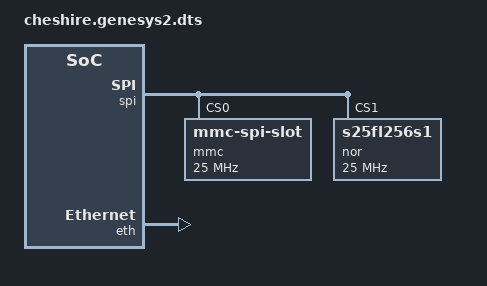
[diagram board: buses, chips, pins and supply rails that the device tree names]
// Copyright 2024 ETH Zurich and University of Bologna.
// Solderpad Hardware License, Version 0.51, see LICENSE for details.
// SPDX-License-Identifier: SHL-0.51
//
// Cyril Koenig <cykoenig@iis.ee.ethz.ch>

/include/ "cheshire.dtsi"

&spi {
  // Choose NOR in "boot-with", as it is only considered if `mmc` probe fails.
  // Thus, we boot from MMC (SD) if available and NOR flash otherwise.
  boot-with = <1>;
  mmc@0 {
    compatible = "mmc-spi-slot";
    reg = <0>; // CS
    spi-max-frequency = <25000000>;
    voltage-ranges = <3300 3300>;
    disable-wp;
  };
  nor@1 {
    compatible = "s25fl256s1", "jedec,spi-nor";
    reg = <1>; // CS
    spi-max-frequency = <25000000>;
    disable-wp;
  };
};

&soc {
  /*
   * usb@3008000 {
   * compatible = "generic-ohci";
   * reg = <0x0 0x3008000 0x0 0x1000>;
   * interrupt-parent = <&PLIC0>;
   * interrupts = <19>;
   * };
  */
  PLIC0: interrupt-controller@4000000 {
    riscv,ndev = <64>;
  };
  riscv_iommu: iommu@1001000 {
    compatible = "riscv,iommu";
    reg = <0x0 0x1001000 0x0 0x1000>;
    interrupts = <59 60 61>; // 62 unused, skipped
    interrupt-names = "cmdq", "fltq", "hpm";
    interrupt-parent = <&PLIC0>;
    #iommu-cells = <1>;
  };
  strela@1002000 {
    compatible = "cei,strela";
    interrupt-parent = <&PLIC0>;
    interrupt-names = "config_done", "exec_done";
    interrupts = <63 64>;
    reg = <0x0 0x1002000 0x0 0x1000>;
    iommus = <&riscv_iommu 0>;
  };
  eth: lowrisc-eth@1020000 {
      compatible = "lowrisc-eth";  
      device_type = "network";   
      interrupt-parent = <&PLIC0>;   
      interrupts = <58>;
      mac-address = [00 18 3e 02 e3 8f]; // This needs to change if more than one GenesysII on a VLAN
      reg = <0x0 0x1020000 0x0 0x10000>; 
  };
};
